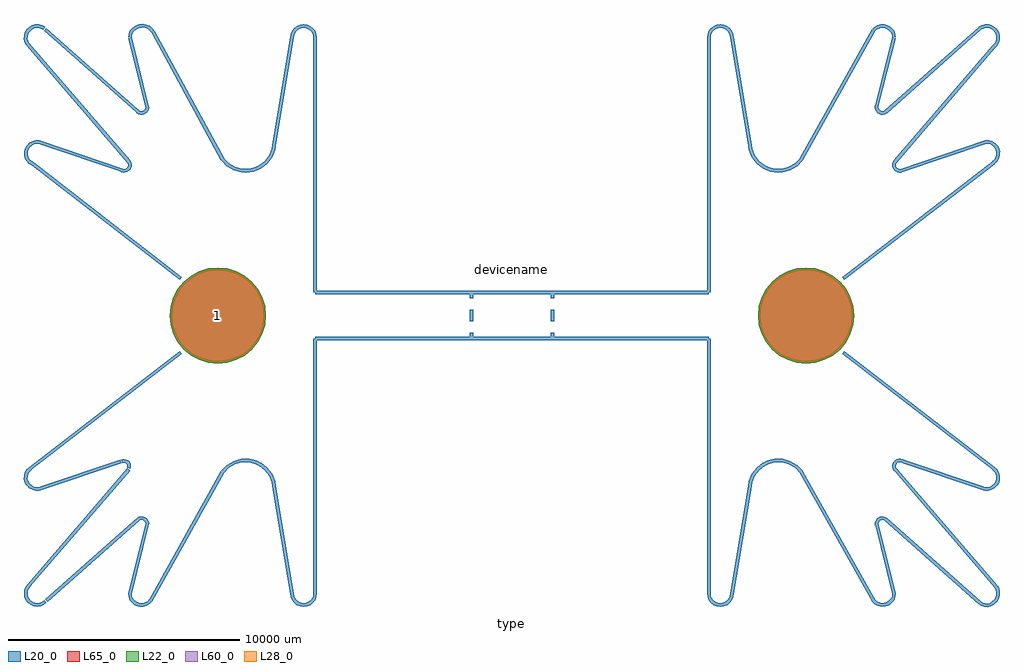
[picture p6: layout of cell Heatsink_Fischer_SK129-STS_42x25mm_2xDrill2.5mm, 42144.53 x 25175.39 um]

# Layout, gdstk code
import gdstk
lib = gdstk.Library(unit=1e-6, precision=1e-09)
def P(c, l, *ps):  # polygons
    for p in ps: c.add(gdstk.Polygon(p, *l))
L20_0 = (20, 0)
L22_0 = (22, 0)
L28_0 = (28, 0)
L60_0 = (60, 0)
L65_0 = (65, 0)

heatsink_fischer_sk129_s = lib.new_cell('Heatsink_Fischer_SK129-STS_42x25mm_2xDrill2.5mm')
P(heatsink_fischer_sk129_s, L22_0, [(14775,0),(14735.129,404.812),(14617.05,794.068),(14425.299,1152.808),(14167.247,1467.247),(13852.808,1725.299),(13494.068,1917.05),(13104.812,2035.129),(12700,2075),(12295.188,2035.129),(11905.932,1917.05),(11547.192,1725.299),(11232.753,1467.247),(10974.701,1152.808),(10782.95,794.068),(10664.871,404.812),(10625,0),(10664.871,-404.812),(10782.95,-794.068),(10974.701,-1152.808),(11232.753,-1467.247),(11547.192,-1725.299),(11905.932,-1917.05),(12295.188,-2035.129),(12700,-2075),(13104.812,-2035.129),(13494.068,-1917.05),(13852.808,-1725.299),(14167.247,-1467.247),(14425.299,-1152.808),(14617.05,-794.068),(14735.129,-404.812)],
  [(-10625,0),(-10664.871,404.812),(-10782.95,794.068),(-10974.701,1152.808),(-11232.753,1467.247),(-11547.192,1725.299),(-11905.932,1917.05),(-12295.188,2035.129),(-12700,2075),(-13104.812,2035.129),(-13494.068,1917.05),(-13852.808,1725.299),(-14167.247,1467.247),(-14425.299,1152.808),(-14617.05,794.068),(-14735.129,404.812),(-14775,0),(-14735.129,-404.812),(-14617.05,-794.068),(-14425.299,-1152.808),(-14167.247,-1467.247),(-13852.808,-1725.299),(-13494.068,-1917.05),(-13104.812,-2035.129),(-12700,-2075),(-12295.188,-2035.129),(-11905.932,-1917.05),(-11547.192,-1725.299),(-11232.753,-1467.247),(-10974.701,-1152.808),(-10782.95,-794.068),(-10664.871,-404.812)])
P(heatsink_fischer_sk129_s, L28_0, [(14700,0),(14661.571,390.181),(14547.759,765.367),(14362.939,1111.14),(14114.214,1414.214),(13811.14,1662.939),(13465.367,1847.759),(13090.181,1961.571),(12700,2000),(12309.819,1961.571),(11934.633,1847.759),(11588.86,1662.939),(11285.786,1414.214),(11037.061,1111.14),(10852.241,765.367),(10738.429,390.181),(10700,0),(10738.429,-390.181),(10852.241,-765.367),(11037.061,-1111.14),(11285.786,-1414.214),(11588.86,-1662.939),(11934.633,-1847.759),(12309.819,-1961.571),(12700,-2000),(13090.181,-1961.571),(13465.367,-1847.759),(13811.14,-1662.939),(14114.214,-1414.214),(14362.939,-1111.14),(14547.759,-765.367),(14661.571,-390.181)],
  [(-10700,0),(-10738.429,390.181),(-10852.241,765.367),(-11037.061,1111.14),(-11285.786,1414.214),(-11588.86,1662.939),(-11934.633,1847.759),(-12309.819,1961.571),(-12700,2000),(-13090.181,1961.571),(-13465.367,1847.759),(-13811.14,1662.939),(-14114.214,1414.214),(-14362.939,1111.14),(-14547.759,765.367),(-14661.571,390.181),(-14700,0),(-14661.571,-390.181),(-14547.759,-765.367),(-14362.939,-1111.14),(-14114.214,-1414.214),(-13811.14,-1662.939),(-13465.367,-1847.759),(-13090.181,-1961.571),(-12700,-2000),(-12309.819,-1961.571),(-11934.633,-1847.759),(-11588.86,-1662.939),(-11285.786,-1414.214),(-11037.061,-1111.14),(-10852.241,-765.367),(-10738.429,-390.181)])
P(heatsink_fischer_sk129_s, L60_0, [(14700,0),(14661.571,390.181),(14547.759,765.367),(14362.939,1111.14),(14114.214,1414.214),(13811.14,1662.939),(13465.367,1847.759),(13090.181,1961.571),(12700,2000),(12309.819,1961.571),(11934.633,1847.759),(11588.86,1662.939),(11285.786,1414.214),(11037.061,1111.14),(10852.241,765.367),(10738.429,390.181),(10700,0),(10738.429,-390.181),(10852.241,-765.367),(11037.061,-1111.14),(11285.786,-1414.214),(11588.86,-1662.939),(11934.633,-1847.759),(12309.819,-1961.571),(12700,-2000),(13090.181,-1961.571),(13465.367,-1847.759),(13811.14,-1662.939),(14114.214,-1414.214),(14362.939,-1111.14),(14547.759,-765.367),(14661.571,-390.181)],
  [(-10700,0),(-10738.429,390.181),(-10852.241,765.367),(-11037.061,1111.14),(-11285.786,1414.214),(-11588.86,1662.939),(-11934.633,1847.759),(-12309.819,1961.571),(-12700,2000),(-13090.181,1961.571),(-13465.367,1847.759),(-13811.14,1662.939),(-14114.214,1414.214),(-14362.939,1111.14),(-14547.759,765.367),(-14661.571,390.181),(-14700,0),(-14661.571,-390.181),(-14547.759,-765.367),(-14362.939,-1111.14),(-14114.214,-1414.214),(-13811.14,-1662.939),(-13465.367,-1847.759),(-13090.181,-1961.571),(-12700,-2000),(-12309.819,-1961.571),(-11934.633,-1847.759),(-11588.86,-1662.939),(-11285.786,-1414.214),(-11037.061,-1111.14),(-10852.241,-765.367),(-10738.429,-390.181)])
P(heatsink_fischer_sk129_s, L65_0, [(14775,0),(14735.129,404.812),(14617.05,794.068),(14425.299,1152.808),(14167.247,1467.247),(13852.808,1725.299),(13494.068,1917.05),(13104.812,2035.129),(12700,2075),(12295.188,2035.129),(11905.932,1917.05),(11547.192,1725.299),(11232.753,1467.247),(10974.701,1152.808),(10782.95,794.068),(10664.871,404.812),(10625,0),(10664.871,-404.812),(10782.95,-794.068),(10974.701,-1152.808),(11232.753,-1467.247),(11547.192,-1725.299),(11905.932,-1917.05),(12295.188,-2035.129),(12700,-2075),(13104.812,-2035.129),(13494.068,-1917.05),(13852.808,-1725.299),(14167.247,-1467.247),(14425.299,-1152.808),(14617.05,-794.068),(14735.129,-404.812)],
  [(-10625,0),(-10664.871,404.812),(-10782.95,794.068),(-10974.701,1152.808),(-11232.753,1467.247),(-11547.192,1725.299),(-11905.932,1917.05),(-12295.188,2035.129),(-12700,2075),(-13104.812,2035.129),(-13494.068,1917.05),(-13852.808,1725.299),(-14167.247,1467.247),(-14425.299,1152.808),(-14617.05,794.068),(-14735.129,404.812),(-14775,0),(-14735.129,-404.812),(-14617.05,-794.068),(-14425.299,-1152.808),(-14167.247,-1467.247),(-13852.808,-1725.299),(-13494.068,-1917.05),(-13104.812,-2035.129),(-12700,-2075),(-12295.188,-2035.129),(-11905.932,-1917.05),(-11547.192,-1725.299),(-11232.753,-1467.247),(-10974.701,-1152.808),(-10782.95,-794.068),(-10664.871,-404.812)])
heatsink_fischer_sk129_s.add(gdstk.FlexPath([(-8500,1000),(8500,1000)], 149.998, ends="flush", simple_path=True, layer=20, datatype=0))  # L20_0
heatsink_fischer_sk129_s.add(gdstk.FlexPath([(8500,-1000),(-8500,-1000)], 149.998, ends="flush", simple_path=True, layer=20, datatype=0))  # L20_0
heatsink_fischer_sk129_s.add(gdstk.FlexPath([(-1750,1000),(-1750,750)], 149.998, ends="flush", simple_path=True, layer=20, datatype=0))  # L20_0
heatsink_fischer_sk129_s.add(gdstk.FlexPath([(1750,1000),(1750,750)], 149.998, ends="flush", simple_path=True, layer=20, datatype=0))  # L20_0
heatsink_fischer_sk129_s.add(gdstk.FlexPath([(-1750,-1000),(-1750,-750)], 149.998, ends="flush", simple_path=True, layer=20, datatype=0))  # L20_0
heatsink_fischer_sk129_s.add(gdstk.FlexPath([(1750,-750),(1750,-1000)], 149.998, ends="flush", simple_path=True, layer=20, datatype=0))  # L20_0
heatsink_fischer_sk129_s.add(gdstk.FlexPath([(-1750,250),(-1750,-250)], 149.998, ends="flush", simple_path=True, layer=20, datatype=0))  # L20_0
heatsink_fischer_sk129_s.add(gdstk.FlexPath([(1750,250),(1750,-250)], 149.998, ends="flush", simple_path=True, layer=20, datatype=0))  # L20_0
heatsink_fischer_sk129_s.add(gdstk.FlexPath([(9000,12500),(8870.59,12482.963),(8750,12433.013),(8646.447,12353.553),(8566.987,12250),(8517.037,12129.41),(8500,12000)], 149.998, ends="flush", simple_path=True, layer=20, datatype=0))  # L20_0
heatsink_fischer_sk129_s.add(gdstk.FlexPath([(9500,12000),(9482.963,12129.41),(9433.013,12250),(9353.553,12353.553),(9250,12433.013),(9129.41,12482.963),(9000,12500)], 149.998, ends="flush", simple_path=True, layer=20, datatype=0))  # L20_0
heatsink_fischer_sk129_s.add(gdstk.FlexPath([(8500,-12000),(8517.037,-12129.41),(8566.987,-12250),(8646.447,-12353.553),(8750,-12433.013),(8870.59,-12482.963),(9000,-12500)], 149.998, ends="flush", simple_path=True, layer=20, datatype=0))  # L20_0
heatsink_fischer_sk129_s.add(gdstk.FlexPath([(9000,-12500),(9129.41,-12482.963),(9250,-12433.013),(9353.553,-12353.553),(9433.013,-12250),(9482.963,-12129.41),(9500,-12000)], 149.998, ends="flush", simple_path=True, layer=20, datatype=0))  # L20_0
heatsink_fischer_sk129_s.add(gdstk.FlexPath([(-9000,-12500),(-8870.59,-12482.963),(-8750,-12433.013),(-8646.447,-12353.553),(-8566.987,-12250),(-8517.037,-12129.41),(-8500,-12000)], 149.998, ends="flush", simple_path=True, layer=20, datatype=0))  # L20_0
heatsink_fischer_sk129_s.add(gdstk.FlexPath([(-9500,-12000),(-9482.963,-12129.41),(-9433.013,-12250),(-9353.553,-12353.553),(-9250,-12433.013),(-9129.41,-12482.963),(-9000,-12500)], 149.998, ends="flush", simple_path=True, layer=20, datatype=0))  # L20_0
heatsink_fischer_sk129_s.add(gdstk.FlexPath([(-8500,12000),(-8517.037,12129.41),(-8566.987,12250),(-8646.447,12353.553),(-8750,12433.013),(-8870.59,12482.963),(-9000,12500)], 149.998, ends="flush", simple_path=True, layer=20, datatype=0))  # L20_0
heatsink_fischer_sk129_s.add(gdstk.FlexPath([(-9000,12500),(-9129.41,12482.963),(-9250,12433.013),(-9353.553,12353.553),(-9433.013,12250),(-9482.963,12129.41),(-9500,12000)], 149.998, ends="flush", simple_path=True, layer=20, datatype=0))  # L20_0
heatsink_fischer_sk129_s.add(gdstk.FlexPath([(-16500,-12000),(-16482.963,-12129.41),(-16433.013,-12250),(-16353.553,-12353.553),(-16250,-12433.013),(-16129.41,-12482.963),(-16000,-12500)], 149.998, ends="flush", simple_path=True, layer=20, datatype=0))  # L20_0
heatsink_fischer_sk129_s.add(gdstk.FlexPath([(16000,-12500),(16129.41,-12482.963),(16250,-12433.013),(16353.553,-12353.553),(16433.013,-12250),(16482.963,-12129.41),(16500,-12000)], 149.998, ends="flush", simple_path=True, layer=20, datatype=0))  # L20_0
heatsink_fischer_sk129_s.add(gdstk.FlexPath([(16500,12000),(16482.963,12129.41),(16433.013,12250),(16353.553,12353.553),(16250,12433.013),(16129.41,12482.963),(16000,12500)], 149.998, ends="flush", simple_path=True, layer=20, datatype=0))  # L20_0
heatsink_fischer_sk129_s.add(gdstk.FlexPath([(-16000,12500),(-16129.41,12482.963),(-16250,12433.013),(-16353.553,12353.553),(-16433.013,12250),(-16482.963,12129.41),(-16500,12000)], 149.998, ends="flush", simple_path=True, layer=20, datatype=0))  # L20_0
heatsink_fischer_sk129_s.add(gdstk.FlexPath([(-9500,12000),(-10250,7500)], 149.998, ends="flush", simple_path=True, layer=20, datatype=0))  # L20_0
heatsink_fischer_sk129_s.add(gdstk.FlexPath([(9500,12000),(10250,7500)], 149.998, ends="flush", simple_path=True, layer=20, datatype=0))  # L20_0
heatsink_fischer_sk129_s.add(gdstk.FlexPath([(-10250,-7500),(-9500,-12000)], 149.998, ends="flush", simple_path=True, layer=20, datatype=0))  # L20_0
heatsink_fischer_sk129_s.add(gdstk.FlexPath([(10250,-7500),(9500,-12000)], 149.998, ends="flush", simple_path=True, layer=20, datatype=0))  # L20_0
heatsink_fischer_sk129_s.add(gdstk.FlexPath([(10250,7500),(10292.593,7176.476),(10417.468,6875),(10616.117,6616.117),(10875,6417.468),(11176.476,6292.593),(11500,6250)], 149.998, ends="flush", simple_path=True, layer=20, datatype=0))  # L20_0
heatsink_fischer_sk129_s.add(gdstk.FlexPath([(10750.001,6500),(11034.376,6339.96),(11350.482,6258.975),(11676.777,6262.564),(11991.026,6350.481),(12271.812,6516.737),(12500,6750)], 149.998, ends="flush", simple_path=True, layer=20, datatype=0))  # L20_0
heatsink_fischer_sk129_s.add(gdstk.FlexPath([(-11500,6250),(-11176.476,6292.593),(-10875,6417.468),(-10616.117,6616.117),(-10417.468,6875),(-10292.593,7176.476),(-10250,7500)], 149.998, ends="flush", simple_path=True, layer=20, datatype=0))  # L20_0
heatsink_fischer_sk129_s.add(gdstk.FlexPath([(-12500,6750),(-12271.812,6516.737),(-11991.025,6350.481),(-11676.777,6262.563),(-11350.481,6258.975),(-11034.375,6339.96),(-10750,6500)], 149.998, ends="flush", simple_path=True, layer=20, datatype=0))  # L20_0
heatsink_fischer_sk129_s.add(gdstk.FlexPath([(-10750.001,-6500),(-11034.376,-6339.96),(-11350.482,-6258.975),(-11676.777,-6262.564),(-11991.026,-6350.481),(-12271.812,-6516.737),(-12500,-6750)], 149.998, ends="flush", simple_path=True, layer=20, datatype=0))  # L20_0
heatsink_fischer_sk129_s.add(gdstk.FlexPath([(-10250,-7500),(-10292.593,-7176.476),(-10417.468,-6875),(-10616.117,-6616.117),(-10875,-6417.468),(-11176.476,-6292.593),(-11500,-6250)], 149.998, ends="flush", simple_path=True, layer=20, datatype=0))  # L20_0
heatsink_fischer_sk129_s.add(gdstk.FlexPath([(11500,-6250),(11176.476,-6292.593),(10875,-6417.468),(10616.117,-6616.117),(10417.468,-6875),(10292.593,-7176.476),(10250,-7500)], 149.998, ends="flush", simple_path=True, layer=20, datatype=0))  # L20_0
heatsink_fischer_sk129_s.add(gdstk.FlexPath([(12500,-6750),(12271.812,-6516.737),(11991.025,-6350.481),(11676.777,-6262.563),(11350.481,-6258.975),(11034.375,-6339.96),(10750,-6500)], 149.998, ends="flush", simple_path=True, layer=20, datatype=0))  # L20_0
heatsink_fischer_sk129_s.add(gdstk.FlexPath([(16300,12400),(16186.25,12464.016),(16059.808,12496.41),(15929.289,12494.975),(15803.59,12459.808),(15691.275,12393.305),(15600,12300)], 149.998, ends="flush", simple_path=True, layer=20, datatype=0))  # L20_0
heatsink_fischer_sk129_s.add(gdstk.FlexPath([(12500,6750),(15600,12300)], 149.998, ends="flush", simple_path=True, layer=20, datatype=0))  # L20_0
heatsink_fischer_sk129_s.add(gdstk.FlexPath([(-15500,12250),(-15580.038,12357.95),(-15685.289,12441.506),(-15808.579,12494.975),(-15941.506,12514.711),(-16075.013,12499.371),(-16200,12450)], 149.998, ends="flush", simple_path=True, layer=20, datatype=0))  # L20_0
heatsink_fischer_sk129_s.add(gdstk.FlexPath([(-15500,12250),(-12500,6750)], 149.998, ends="flush", simple_path=True, layer=20, datatype=0))  # L20_0
heatsink_fischer_sk129_s.add(gdstk.FlexPath([(-16300,-12400),(-16186.25,-12464.016),(-16059.808,-12496.41),(-15929.289,-12494.975),(-15803.59,-12459.808),(-15691.275,-12393.305),(-15600,-12300)], 149.998, ends="flush", simple_path=True, layer=20, datatype=0))  # L20_0
heatsink_fischer_sk129_s.add(gdstk.FlexPath([(-15600,-12300),(-12500,-6750)], 149.998, ends="flush", simple_path=True, layer=20, datatype=0))  # L20_0
heatsink_fischer_sk129_s.add(gdstk.FlexPath([(15550,-12200),(15617.097,-12309.654),(15710.289,-12398.205),(15823.223,-12459.619),(15948.205,-12489.711),(16076.717,-12486.43),(16200,-12450)], 149.998, ends="flush", simple_path=True, layer=20, datatype=0))  # L20_0
heatsink_fischer_sk129_s.add(gdstk.FlexPath([(15550,-12200),(12500,-6750)], 149.998, ends="flush", simple_path=True, layer=20, datatype=0))  # L20_0
heatsink_fischer_sk129_s.add(gdstk.FlexPath([(-15750,9000),(-16500,12000)], 149.998, ends="flush", simple_path=True, layer=20, datatype=0))  # L20_0
heatsink_fischer_sk129_s.add(gdstk.FlexPath([(8500,12000),(8500,1000)], 149.998, ends="flush", simple_path=True, layer=20, datatype=0))  # L20_0
heatsink_fischer_sk129_s.add(gdstk.FlexPath([(-8500,12000),(-8500,1000)], 149.998, ends="flush", simple_path=True, layer=20, datatype=0))  # L20_0
heatsink_fischer_sk129_s.add(gdstk.FlexPath([(-16200,8850),(-20150,12350)], 149.998, ends="flush", simple_path=True, layer=20, datatype=0))  # L20_0
heatsink_fischer_sk129_s.add(gdstk.FlexPath([(-16550,6650),(-20900,11700)], 149.998, ends="flush", simple_path=True, layer=20, datatype=0))  # L20_0
heatsink_fischer_sk129_s.add(gdstk.FlexPath([(-16500,-12000),(-15750,-9000)], 149.998, ends="flush", simple_path=True, layer=20, datatype=0))  # L20_0
heatsink_fischer_sk129_s.add(gdstk.FlexPath([(-20100,-12300),(-16150,-8800)], 149.998, ends="flush", simple_path=True, layer=20, datatype=0))  # L20_0
heatsink_fischer_sk129_s.add(gdstk.FlexPath([(-20850,-11650),(-16550,-6650)], 149.998, ends="flush", simple_path=True, layer=20, datatype=0))  # L20_0
heatsink_fischer_sk129_s.add(gdstk.FlexPath([(-20300,-7450),(-16900,-6300)], 149.998, ends="flush", simple_path=True, layer=20, datatype=0))  # L20_0
heatsink_fischer_sk129_s.add(gdstk.FlexPath([(-8500,-12000),(-8500,-1000)], 149.998, ends="flush", simple_path=True, layer=20, datatype=0))  # L20_0
heatsink_fischer_sk129_s.add(gdstk.FlexPath([(-20800,-6600),(-20893.305,-6691.275),(-20959.808,-6803.59),(-20994.975,-6929.289),(-20996.41,-7059.808),(-20964.016,-7186.25),(-20900,-7300)], 149.998, ends="flush", simple_path=True, layer=20, datatype=0))  # L20_0
heatsink_fischer_sk129_s.add(gdstk.FlexPath([(-20950,-7200),(-20882.903,-7309.654),(-20789.711,-7398.205),(-20676.777,-7459.619),(-20551.795,-7489.711),(-20423.283,-7486.43),(-20300,-7450)], 149.998, ends="flush", simple_path=True, layer=20, datatype=0))  # L20_0
heatsink_fischer_sk129_s.add(gdstk.FlexPath([(-20850,-11650),(-20928.661,-11752.513),(-20978.109,-11871.891),(-20994.975,-12000),(-20978.109,-12128.109),(-20928.661,-12247.487),(-20850,-12350)], 149.998, ends="flush", simple_path=True, layer=20, datatype=0))  # L20_0
heatsink_fischer_sk129_s.add(gdstk.FlexPath([(-20850,-12350),(-20747.487,-12428.661),(-20628.109,-12478.109),(-20500,-12494.975),(-20371.891,-12478.109),(-20252.513,-12428.661),(-20150,-12350)], 149.998, ends="flush", simple_path=True, layer=20, datatype=0))  # L20_0
heatsink_fischer_sk129_s.add(gdstk.FlexPath([(-16900,6300),(-20300,7450)], 149.998, ends="flush", simple_path=True, layer=20, datatype=0))  # L20_0
heatsink_fischer_sk129_s.add(gdstk.FlexPath([(-20800,12400),(-20893.305,12308.725),(-20959.808,12196.41),(-20994.975,12070.711),(-20996.41,11940.192),(-20964.016,11813.75),(-20900,11700)], 149.998, ends="flush", simple_path=True, layer=20, datatype=0))  # L20_0
heatsink_fischer_sk129_s.add(gdstk.FlexPath([(-20200,12400),(-20313.75,12464.016),(-20440.192,12496.41),(-20570.711,12494.975),(-20696.41,12459.808),(-20808.725,12393.305),(-20900,12300)], 149.998, ends="flush", simple_path=True, layer=20, datatype=0))  # L20_0
heatsink_fischer_sk129_s.add(gdstk.FlexPath([(-20950,7199.999),(-20986.43,7076.716),(-20989.711,6948.204),(-20959.619,6823.223),(-20898.204,6710.288),(-20809.653,6617.097),(-20700,6550)], 149.998, ends="flush", simple_path=True, layer=20, datatype=0))  # L20_0
heatsink_fischer_sk129_s.add(gdstk.FlexPath([(-20300.001,7450),(-20423.284,7486.43),(-20551.796,7489.711),(-20676.777,7459.619),(-20789.712,7398.204),(-20882.903,7309.653),(-20950,7200)], 149.998, ends="flush", simple_path=True, layer=20, datatype=0))  # L20_0
heatsink_fischer_sk129_s.add(gdstk.FlexPath([(8500,-12000),(8500,-1000)], 149.998, ends="flush", simple_path=True, layer=20, datatype=0))  # L20_0
heatsink_fischer_sk129_s.add(gdstk.FlexPath([(-15800,-8850),(-15845.638,-8803.347),(-15901.795,-8770.096),(-15964.645,-8752.513),(-16029.904,-8751.795),(-16093.125,-8767.992),(-16150,-8800)], 149.998, ends="flush", simple_path=True, layer=20, datatype=0))  # L20_0
heatsink_fischer_sk129_s.add(gdstk.FlexPath([(-15750,-9049.999),(-15745.578,-8983.591),(-15758.494,-8918.3),(-15787.869,-8858.578),(-15831.7,-8808.493),(-15887,-8771.459),(-15950,-8750)], 149.998, ends="flush", simple_path=True, layer=20, datatype=0))  # L20_0
heatsink_fischer_sk129_s.add(gdstk.FlexPath([(-16550,-6400),(-16582.697,-6351.644),(-16626.795,-6313.397),(-16679.289,-6287.868),(-16736.603,-6276.795),(-16794.829,-6280.933),(-16850,-6300)], 149.998, ends="flush", simple_path=True, layer=20, datatype=0))  # L20_0
heatsink_fischer_sk129_s.add(gdstk.FlexPath([(-16550,-6599.999),(-16530.933,-6544.828),(-16526.795,-6486.602),(-16537.868,-6429.289),(-16563.398,-6376.794),(-16601.644,-6332.696),(-16650,-6300)], 149.998, ends="flush", simple_path=True, layer=20, datatype=0))  # L20_0
heatsink_fischer_sk129_s.add(gdstk.FlexPath([(-15950,8750),(-15886.999,8771.459),(-15831.699,8808.494),(-15787.868,8858.579),(-15758.494,8918.301),(-15745.578,8983.592),(-15750,9050)], 149.998, ends="flush", simple_path=True, layer=20, datatype=0))  # L20_0
heatsink_fischer_sk129_s.add(gdstk.FlexPath([(-16200,8850),(-16154.362,8803.347),(-16098.205,8770.096),(-16035.355,8752.513),(-15970.096,8751.795),(-15906.875,8767.992),(-15850,8800)], 149.998, ends="flush", simple_path=True, layer=20, datatype=0))  # L20_0
heatsink_fischer_sk129_s.add(gdstk.FlexPath([(-16600,6300),(-16553.347,6345.638),(-16520.096,6401.795),(-16502.513,6464.645),(-16501.795,6529.904),(-16517.992,6593.125),(-16550,6650)], 149.998, ends="flush", simple_path=True, layer=20, datatype=0))  # L20_0
heatsink_fischer_sk129_s.add(gdstk.FlexPath([(-16900,6300),(-16843.125,6267.992),(-16779.904,6251.795),(-16714.645,6252.513),(-16651.795,6270.096),(-16595.638,6303.347),(-16550,6350)], 149.998, ends="flush", simple_path=True, layer=20, datatype=0))  # L20_0
heatsink_fischer_sk129_s.add(gdstk.FlexPath([(16500,12000),(15750,9050)], 149.998, ends="flush", simple_path=True, layer=20, datatype=0))  # L20_0
heatsink_fischer_sk129_s.add(gdstk.FlexPath([(16150,8800),(20200,12400)], 149.998, ends="flush", simple_path=True, layer=20, datatype=0))  # L20_0
heatsink_fischer_sk129_s.add(gdstk.FlexPath([(16550,6650),(20800,11600)], 149.998, ends="flush", simple_path=True, layer=20, datatype=0))  # L20_0
heatsink_fischer_sk129_s.add(gdstk.FlexPath([(16800,6250),(20450,7500)], 149.998, ends="flush", simple_path=True, layer=20, datatype=0))  # L20_0
heatsink_fischer_sk129_s.add(gdstk.FlexPath([(16900,-6300),(20300,-7450)], 149.998, ends="flush", simple_path=True, layer=20, datatype=0))  # L20_0
heatsink_fischer_sk129_s.add(gdstk.FlexPath([(16600,-6700),(20900,-11700)], 149.998, ends="flush", simple_path=True, layer=20, datatype=0))  # L20_0
heatsink_fischer_sk129_s.add(gdstk.FlexPath([(16500,-12000),(15750,-9000)], 149.998, ends="flush", simple_path=True, layer=20, datatype=0))  # L20_0
heatsink_fischer_sk129_s.add(gdstk.FlexPath([(16150,-8800),(20200,-12400)], 149.998, ends="flush", simple_path=True, layer=20, datatype=0))  # L20_0
heatsink_fischer_sk129_s.add(gdstk.FlexPath([(20200,-12400),(20300.809,-12465.72),(20415.192,-12503.109),(20535.355,-12509.619),(20653.109,-12484.808),(20760.428,-12430.364),(20850,-12350)], 149.998, ends="flush", simple_path=True, layer=20, datatype=0))  # L20_0
heatsink_fischer_sk129_s.add(gdstk.FlexPath([(20800,-12400),(20893.305,-12308.725),(20959.808,-12196.41),(20994.975,-12070.711),(20996.41,-11940.192),(20964.016,-11813.75),(20900,-11700)], 149.998, ends="flush", simple_path=True, layer=20, datatype=0))  # L20_0
heatsink_fischer_sk129_s.add(gdstk.FlexPath([(20900,-7300),(20964.016,-7186.25),(20996.41,-7059.808),(20994.975,-6929.289),(20959.808,-6803.59),(20893.305,-6691.275),(20800,-6600)], 149.998, ends="flush", simple_path=True, layer=20, datatype=0))  # L20_0
heatsink_fischer_sk129_s.add(gdstk.FlexPath([(20300.001,-7450),(20423.284,-7486.43),(20551.796,-7489.711),(20676.777,-7459.619),(20789.712,-7398.204),(20882.903,-7309.653),(20950,-7200)], 149.998, ends="flush", simple_path=True, layer=20, datatype=0))  # L20_0
heatsink_fischer_sk129_s.add(gdstk.FlexPath([(21000,7050),(20970.022,7177.706),(20908.013,7293.301),(20818.198,7388.909),(20706.699,7458.013),(20581.113,7495.904),(20450,7500)], 149.998, ends="flush", simple_path=True, layer=20, datatype=0))  # L20_0
heatsink_fischer_sk129_s.add(gdstk.FlexPath([(20800,6600),(20893.305,6691.275),(20959.808,6803.59),(20994.975,6929.289),(20996.41,7059.808),(20964.016,7186.25),(20900,7300)], 149.998, ends="flush", simple_path=True, layer=20, datatype=0))  # L20_0
heatsink_fischer_sk129_s.add(gdstk.FlexPath([(20900,12300),(20808.725,12393.305),(20696.41,12459.808),(20570.711,12494.975),(20440.192,12496.41),(20313.75,12464.016),(20200,12400)], 149.998, ends="flush", simple_path=True, layer=20, datatype=0))  # L20_0
heatsink_fischer_sk129_s.add(gdstk.FlexPath([(20800,11600),(20893.305,11691.275),(20959.808,11803.59),(20994.975,11929.289),(20996.41,12059.808),(20964.016,12186.25),(20900,12300)], 149.998, ends="flush", simple_path=True, layer=20, datatype=0))  # L20_0
heatsink_fischer_sk129_s.add(gdstk.FlexPath([(15750,9049.999),(15745.578,8983.591),(15758.494,8918.3),(15787.869,8858.578),(15831.7,8808.493),(15887,8771.459),(15950,8750)], 149.998, ends="flush", simple_path=True, layer=20, datatype=0))  # L20_0
heatsink_fischer_sk129_s.add(gdstk.FlexPath([(15800,8850),(15845.638,8803.347),(15901.795,8770.096),(15964.645,8752.513),(16029.904,8751.795),(16093.125,8767.992),(16150,8800)], 149.998, ends="flush", simple_path=True, layer=20, datatype=0))  # L20_0
heatsink_fischer_sk129_s.add(gdstk.FlexPath([(16600,6700),(16553.347,6654.362),(16520.096,6598.205),(16502.513,6535.355),(16501.795,6470.096),(16517.992,6406.875),(16550,6350)], 149.998, ends="flush", simple_path=True, layer=20, datatype=0))  # L20_0
heatsink_fischer_sk129_s.add(gdstk.FlexPath([(16500,6450),(16521.459,6386.999),(16558.494,6331.699),(16608.579,6287.868),(16668.301,6258.494),(16733.592,6245.578),(16800,6250)], 149.998, ends="flush", simple_path=True, layer=20, datatype=0))  # L20_0
heatsink_fischer_sk129_s.add(gdstk.FlexPath([(16900,-6300),(16843.125,-6267.992),(16779.904,-6251.795),(16714.645,-6252.513),(16651.795,-6270.096),(16595.638,-6303.347),(16550,-6350)], 149.998, ends="flush", simple_path=True, layer=20, datatype=0))  # L20_0
heatsink_fischer_sk129_s.add(gdstk.FlexPath([(16550,-6350),(16517.992,-6406.875),(16501.795,-6470.096),(16502.513,-6535.355),(16520.096,-6598.205),(16553.347,-6654.362),(16600,-6700)], 149.998, ends="flush", simple_path=True, layer=20, datatype=0))  # L20_0
heatsink_fischer_sk129_s.add(gdstk.FlexPath([(16200,-8850),(16154.362,-8803.347),(16098.205,-8770.096),(16035.355,-8752.513),(15970.096,-8751.795),(15906.875,-8767.992),(15850,-8800)], 149.998, ends="flush", simple_path=True, layer=20, datatype=0))  # L20_0
heatsink_fischer_sk129_s.add(gdstk.FlexPath([(15950,-8750),(15886.999,-8771.459),(15831.699,-8808.494),(15787.868,-8858.579),(15758.494,-8918.301),(15745.578,-8983.592),(15750,-9050)], 149.998, ends="flush", simple_path=True, layer=20, datatype=0))  # L20_0
heatsink_fischer_sk129_s.add(gdstk.FlexPath([(-20700,6550),(-14300,1600)], 149.998, ends="flush", simple_path=True, layer=20, datatype=0))  # L20_0
heatsink_fischer_sk129_s.add(gdstk.FlexPath([(-20800,-6600),(-14300,-1600)], 149.998, ends="flush", simple_path=True, layer=20, datatype=0))  # L20_0
heatsink_fischer_sk129_s.add(gdstk.FlexPath([(20800,-6600),(14300,-1600)], 149.998, ends="flush", simple_path=True, layer=20, datatype=0))  # L20_0
heatsink_fischer_sk129_s.add(gdstk.FlexPath([(20800,6600),(14300,1600)], 149.998, ends="flush", simple_path=True, layer=20, datatype=0))  # L20_0
heatsink_fischer_sk129_s.add(gdstk.Label('1', (-12700,0), layer=28, texttype=0))
heatsink_fischer_sk129_s.add(gdstk.Label('type', (0,-13500), layer=9, texttype=0))
heatsink_fischer_sk129_s.add(gdstk.Label('devicename', (0,2000), layer=9, texttype=0))

lib.write_gds('Heatsink_Fischer_SK129-STS_42x25mm_2xDrill2.5mm.gds')
